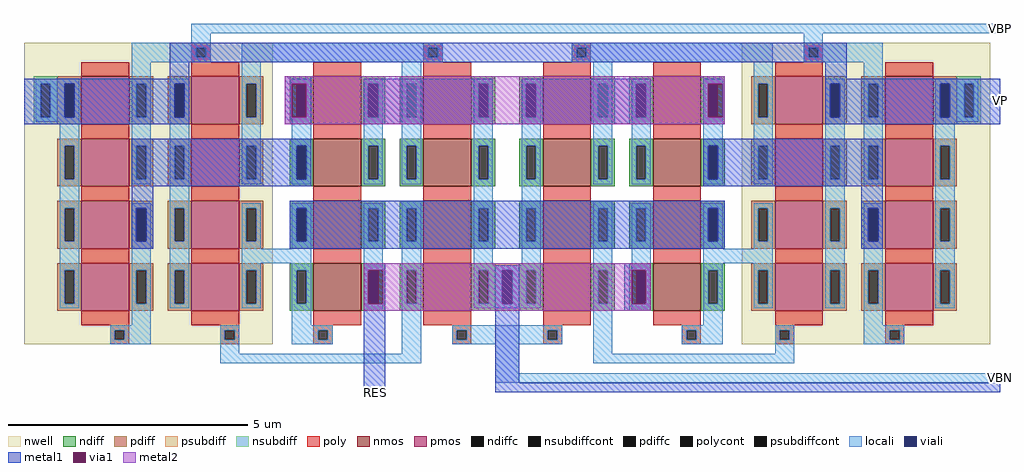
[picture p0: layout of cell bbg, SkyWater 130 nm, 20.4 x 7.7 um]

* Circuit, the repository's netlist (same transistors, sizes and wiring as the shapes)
.subckt bbg VP VBP VBN VN RES
X0 VN a_460_n780# a_n200_n840# VN sky130_fd_pr__nfet_01v8 ad=0.5 pd=3 as=0.5 ps=3 w=1 l=1
X1 a_460_n780# VBP VP VP sky130_fd_pr__pfet_01v8 ad=0.5 pd=3 as=0.5 ps=3 w=1 l=1
X2 a_460_n780# a_460_n780# RES VN sky130_fd_pr__nfet_01v8 ad=0.5 pd=3 as=0.5 ps=3 w=1 l=1
X3 VP VBP a_460_n780# VP sky130_fd_pr__pfet_01v8 ad=0.5 pd=3 as=0.5 ps=3 w=1 l=1
X4 a_n200_n840# a_460_n780# VN VN sky130_fd_pr__nfet_01v8 ad=0.5 pd=3 as=0.5 ps=3 w=1 l=1
X5 VP a_n200_n840# a_n200_n840# VP sky130_fd_pr__pfet_01v8 ad=0.5 pd=3 as=0.5 ps=3 w=1 l=1
X6 VN VBN VBP VN sky130_fd_pr__nfet_01v8 ad=0.5 pd=3 as=0.5 ps=3 w=1 l=1
X7 VBP a_n200_n840# VP VP sky130_fd_pr__pfet_01v8 ad=0.5 pd=3 as=0.5 ps=3 w=1 l=1
X8 VBN VBP VP VP sky130_fd_pr__pfet_01v8 ad=0.5 pd=3 as=0.5 ps=3 w=1 l=1
X9 a_n200_n840# a_460_n780# VN VN sky130_fd_pr__nfet_01v8 ad=0.5 pd=3 as=0.5 ps=3 w=1 l=1
X10 RES a_460_n780# a_460_n780# VN sky130_fd_pr__nfet_01v8 ad=0.5 pd=3 as=0.5 ps=3 w=1 l=1
X11 VP VBP VBN VP sky130_fd_pr__pfet_01v8 ad=0.5 pd=3 as=0.5 ps=3 w=1 l=1
X12 VP VBP VBN VP sky130_fd_pr__pfet_01v8 ad=0.5 pd=3 as=0.5 ps=3 w=1 l=1
X13 VBP a_n200_n840# VP VP sky130_fd_pr__pfet_01v8 ad=0.5 pd=3 as=0.5 ps=3 w=1 l=1
X14 a_n200_n840# a_n200_n840# VP VP sky130_fd_pr__pfet_01v8 ad=0.5 pd=3 as=0.5 ps=3 w=1 l=1
X15 VBP VBN VN VN sky130_fd_pr__nfet_01v8 ad=0.5 pd=3 as=0.5 ps=3 w=1 l=1
X16 a_460_n780# VBP VP VP sky130_fd_pr__pfet_01v8 ad=0.5 pd=3 as=0.5 ps=3 w=1 l=1
X17 a_460_n780# a_460_n780# RES VN sky130_fd_pr__nfet_01v8 ad=0.5 pd=3 as=0.5 ps=3 w=1 l=1
X18 VP VBP a_460_n780# VP sky130_fd_pr__pfet_01v8 ad=0.5 pd=3 as=0.5 ps=3 w=1 l=1
X19 VBN VBN VN VN sky130_fd_pr__nfet_01v8 ad=0.5 pd=3 as=0.5 ps=3 w=1 l=1
X20 VBN VBN VN VN sky130_fd_pr__nfet_01v8 ad=0.5 pd=3 as=0.5 ps=3 w=1 l=1
X21 VP a_n200_n840# a_n200_n840# VP sky130_fd_pr__pfet_01v8 ad=0.5 pd=3 as=0.5 ps=3 w=1 l=1
X22 VN VBN VBP VN sky130_fd_pr__nfet_01v8 ad=0.5 pd=3 as=0.5 ps=3 w=1 l=1
X23 RES a_460_n780# a_460_n780# VN sky130_fd_pr__nfet_01v8 ad=0.5 pd=3 as=0.5 ps=3 w=1 l=1
X24 VN VBN VBN VN sky130_fd_pr__nfet_01v8 ad=0.5 pd=3 as=0.5 ps=3 w=1 l=1
X25 VP a_n200_n840# VBP VP sky130_fd_pr__pfet_01v8 ad=0.5 pd=3 as=0.5 ps=3 w=1 l=1
X26 VP a_n200_n840# VBP VP sky130_fd_pr__pfet_01v8 ad=0.5 pd=3 as=0.5 ps=3 w=1 l=1
X27 VN VBN VBN VN sky130_fd_pr__nfet_01v8 ad=0.5 pd=3 as=0.5 ps=3 w=1 l=1
X28 VN a_460_n780# a_n200_n840# VN sky130_fd_pr__nfet_01v8 ad=0.5 pd=3 as=0.5 ps=3 w=1 l=1
X29 VBP VBN VN VN sky130_fd_pr__nfet_01v8 ad=0.5 pd=3 as=0.5 ps=3 w=1 l=1
X30 VBN VBP VP VP sky130_fd_pr__pfet_01v8 ad=0.5 pd=3 as=0.5 ps=3 w=1 l=1
X31 a_n200_n840# a_n200_n840# VP VP sky130_fd_pr__pfet_01v8 ad=0.5 pd=3 as=0.5 ps=3 w=1 l=1
.ends
.end

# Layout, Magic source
magic
tech sky130A
<< nwell >>
rect -220 -460 300 170
rect 1280 -460 1800 170
<< nmos >>
rect 385 0 485 100
rect 615 0 715 100
rect 865 0 965 100
rect 1095 0 1195 100
rect 385 -130 485 -30
rect 615 -130 715 -30
rect 865 -130 965 -30
rect 1095 -130 1195 -30
rect 385 -260 485 -160
rect 615 -260 715 -160
rect 865 -260 965 -160
rect 1095 -260 1195 -160
rect 385 -390 485 -290
rect 615 -390 715 -290
rect 865 -390 965 -290
rect 1095 -390 1195 -290
<< pmos >>
rect -100 0 0 100
rect 130 0 230 100
rect 1350 0 1450 100
rect 1580 0 1680 100
rect -100 -130 0 -30
rect 130 -130 230 -30
rect 1350 -130 1450 -30
rect 1580 -130 1680 -30
rect -100 -260 0 -160
rect 130 -260 230 -160
rect 1350 -260 1450 -160
rect 1580 -260 1680 -160
rect -100 -390 0 -290
rect 130 -390 230 -290
rect 1350 -390 1450 -290
rect 1580 -390 1680 -290
<< ndiff >>
rect 335 85 385 100
rect 335 15 350 85
rect 370 15 385 85
rect 335 0 385 15
rect 485 85 535 100
rect 485 15 500 85
rect 520 15 535 85
rect 485 0 535 15
rect 565 85 615 100
rect 565 15 580 85
rect 600 15 615 85
rect 565 0 615 15
rect 715 85 765 100
rect 715 15 730 85
rect 750 15 765 85
rect 715 0 765 15
rect 815 85 865 100
rect 815 15 830 85
rect 850 15 865 85
rect 815 0 865 15
rect 965 85 1015 100
rect 965 15 980 85
rect 1000 15 1015 85
rect 965 0 1015 15
rect 1045 85 1095 100
rect 1045 15 1060 85
rect 1080 15 1095 85
rect 1045 0 1095 15
rect 1195 85 1245 100
rect 1195 15 1210 85
rect 1230 15 1245 85
rect 1195 0 1245 15
rect 335 -45 385 -30
rect 335 -115 350 -45
rect 370 -115 385 -45
rect 335 -130 385 -115
rect 485 -45 535 -30
rect 485 -115 500 -45
rect 520 -115 535 -45
rect 485 -130 535 -115
rect 565 -45 615 -30
rect 565 -115 580 -45
rect 600 -115 615 -45
rect 565 -130 615 -115
rect 715 -45 765 -30
rect 715 -115 730 -45
rect 750 -115 765 -45
rect 715 -130 765 -115
rect 815 -45 865 -30
rect 815 -115 830 -45
rect 850 -115 865 -45
rect 815 -130 865 -115
rect 965 -45 1015 -30
rect 965 -115 980 -45
rect 1000 -115 1015 -45
rect 965 -130 1015 -115
rect 1045 -45 1095 -30
rect 1045 -115 1060 -45
rect 1080 -115 1095 -45
rect 1045 -130 1095 -115
rect 1195 -45 1245 -30
rect 1195 -115 1210 -45
rect 1230 -115 1245 -45
rect 1195 -130 1245 -115
rect 335 -175 385 -160
rect 335 -245 350 -175
rect 370 -245 385 -175
rect 335 -260 385 -245
rect 485 -175 535 -160
rect 485 -245 500 -175
rect 520 -245 535 -175
rect 485 -260 535 -245
rect 565 -175 615 -160
rect 565 -245 580 -175
rect 600 -245 615 -175
rect 565 -260 615 -245
rect 715 -175 765 -160
rect 715 -245 730 -175
rect 750 -245 765 -175
rect 715 -260 765 -245
rect 815 -175 865 -160
rect 815 -245 830 -175
rect 850 -245 865 -175
rect 815 -260 865 -245
rect 965 -175 1015 -160
rect 965 -245 980 -175
rect 1000 -245 1015 -175
rect 965 -260 1015 -245
rect 1045 -175 1095 -160
rect 1045 -245 1060 -175
rect 1080 -245 1095 -175
rect 1045 -260 1095 -245
rect 1195 -175 1245 -160
rect 1195 -245 1210 -175
rect 1230 -245 1245 -175
rect 1195 -260 1245 -245
rect 335 -305 385 -290
rect 335 -375 350 -305
rect 370 -375 385 -305
rect 335 -390 385 -375
rect 485 -305 535 -290
rect 485 -375 500 -305
rect 520 -375 535 -305
rect 485 -390 535 -375
rect 565 -305 615 -290
rect 565 -375 580 -305
rect 600 -375 615 -305
rect 565 -390 615 -375
rect 715 -305 765 -290
rect 815 -305 865 -290
rect 715 -375 730 -305
rect 750 -375 765 -305
rect 815 -375 830 -305
rect 850 -375 865 -305
rect 715 -390 765 -375
rect 815 -390 865 -375
rect 965 -305 1015 -290
rect 965 -375 980 -305
rect 1000 -375 1015 -305
rect 965 -390 1015 -375
rect 1045 -305 1095 -290
rect 1045 -375 1060 -305
rect 1080 -375 1095 -305
rect 1045 -390 1095 -375
rect 1195 -305 1245 -290
rect 1195 -375 1210 -305
rect 1230 -375 1245 -305
rect 1195 -390 1245 -375
<< pdiff >>
rect -150 85 -100 100
rect -150 15 -135 85
rect -115 15 -100 85
rect -150 0 -100 15
rect 0 85 50 100
rect 0 15 15 85
rect 35 15 50 85
rect 0 0 50 15
rect 80 85 130 100
rect 80 15 95 85
rect 115 15 130 85
rect 80 0 130 15
rect 230 85 280 100
rect 230 15 245 85
rect 265 15 280 85
rect 230 0 280 15
rect 1300 85 1350 100
rect 1300 15 1315 85
rect 1335 15 1350 85
rect 1300 0 1350 15
rect 1450 85 1500 100
rect 1450 15 1465 85
rect 1485 15 1500 85
rect 1450 0 1500 15
rect 1530 85 1580 100
rect 1530 15 1545 85
rect 1565 15 1580 85
rect 1530 0 1580 15
rect 1680 85 1730 100
rect 1680 15 1695 85
rect 1715 15 1730 85
rect 1680 0 1730 15
rect -150 -45 -100 -30
rect -150 -115 -135 -45
rect -115 -115 -100 -45
rect -150 -130 -100 -115
rect 0 -45 50 -30
rect 0 -115 15 -45
rect 35 -115 50 -45
rect 0 -130 50 -115
rect 80 -45 130 -30
rect 80 -115 95 -45
rect 115 -115 130 -45
rect 80 -130 130 -115
rect 230 -45 280 -30
rect 230 -115 245 -45
rect 265 -115 280 -45
rect 230 -130 280 -115
rect 1300 -45 1350 -30
rect 1300 -115 1315 -45
rect 1335 -115 1350 -45
rect 1300 -130 1350 -115
rect 1450 -45 1500 -30
rect 1450 -115 1465 -45
rect 1485 -115 1500 -45
rect 1450 -130 1500 -115
rect 1530 -45 1580 -30
rect 1530 -115 1545 -45
rect 1565 -115 1580 -45
rect 1530 -130 1580 -115
rect 1680 -45 1730 -30
rect 1680 -115 1695 -45
rect 1715 -115 1730 -45
rect 1680 -130 1730 -115
rect -150 -175 -100 -160
rect -150 -245 -135 -175
rect -115 -245 -100 -175
rect -150 -260 -100 -245
rect 0 -175 50 -160
rect 0 -245 15 -175
rect 35 -245 50 -175
rect 0 -260 50 -245
rect 80 -175 130 -160
rect 80 -245 95 -175
rect 115 -245 130 -175
rect 80 -260 130 -245
rect 230 -175 280 -160
rect 230 -245 245 -175
rect 265 -245 280 -175
rect 230 -260 280 -245
rect 1300 -175 1350 -160
rect 1300 -245 1315 -175
rect 1335 -245 1350 -175
rect 1300 -260 1350 -245
rect 1450 -175 1500 -160
rect 1450 -245 1465 -175
rect 1485 -245 1500 -175
rect 1450 -260 1500 -245
rect 1530 -175 1580 -160
rect 1530 -245 1545 -175
rect 1565 -245 1580 -175
rect 1530 -260 1580 -245
rect 1680 -175 1730 -160
rect 1680 -245 1695 -175
rect 1715 -245 1730 -175
rect 1680 -260 1730 -245
rect -150 -305 -100 -290
rect -150 -375 -135 -305
rect -115 -375 -100 -305
rect -150 -390 -100 -375
rect 0 -305 50 -290
rect 0 -375 15 -305
rect 35 -375 50 -305
rect 0 -390 50 -375
rect 80 -305 130 -290
rect 80 -375 95 -305
rect 115 -375 130 -305
rect 80 -390 130 -375
rect 230 -305 280 -290
rect 230 -375 245 -305
rect 265 -375 280 -305
rect 230 -390 280 -375
rect 1300 -305 1350 -290
rect 1300 -375 1315 -305
rect 1335 -375 1350 -305
rect 1300 -390 1350 -375
rect 1450 -305 1500 -290
rect 1450 -375 1465 -305
rect 1485 -375 1500 -305
rect 1450 -390 1500 -375
rect 1530 -305 1580 -290
rect 1530 -375 1545 -305
rect 1565 -375 1580 -305
rect 1530 -390 1580 -375
rect 1680 -305 1730 -290
rect 1680 -375 1695 -305
rect 1715 -375 1730 -305
rect 1680 -390 1730 -375
<< ndiffc >>
rect 350 15 370 85
rect 500 15 520 85
rect 580 15 600 85
rect 730 15 750 85
rect 830 15 850 85
rect 980 15 1000 85
rect 1060 15 1080 85
rect 1210 15 1230 85
rect 350 -115 370 -45
rect 500 -115 520 -45
rect 580 -115 600 -45
rect 730 -115 750 -45
rect 830 -115 850 -45
rect 980 -115 1000 -45
rect 1060 -115 1080 -45
rect 1210 -115 1230 -45
rect 350 -245 370 -175
rect 500 -245 520 -175
rect 580 -245 600 -175
rect 730 -245 750 -175
rect 830 -245 850 -175
rect 980 -245 1000 -175
rect 1060 -245 1080 -175
rect 1210 -245 1230 -175
rect 350 -375 370 -305
rect 500 -375 520 -305
rect 580 -375 600 -305
rect 730 -375 750 -305
rect 830 -375 850 -305
rect 980 -375 1000 -305
rect 1060 -375 1080 -305
rect 1210 -375 1230 -305
<< pdiffc >>
rect -135 15 -115 85
rect 15 15 35 85
rect 95 15 115 85
rect 245 15 265 85
rect 1315 15 1335 85
rect 1465 15 1485 85
rect 1545 15 1565 85
rect 1695 15 1715 85
rect -135 -115 -115 -45
rect 15 -115 35 -45
rect 95 -115 115 -45
rect 245 -115 265 -45
rect 1315 -115 1335 -45
rect 1465 -115 1485 -45
rect 1545 -115 1565 -45
rect 1695 -115 1715 -45
rect -135 -245 -115 -175
rect 15 -245 35 -175
rect 95 -245 115 -175
rect 245 -245 265 -175
rect 1315 -245 1335 -175
rect 1465 -245 1485 -175
rect 1545 -245 1565 -175
rect 1695 -245 1715 -175
rect -135 -375 -115 -305
rect 15 -375 35 -305
rect 95 -375 115 -305
rect 245 -375 265 -305
rect 1315 -375 1335 -305
rect 1465 -375 1485 -305
rect 1545 -375 1565 -305
rect 1695 -375 1715 -305
<< psubdiff >>
rect 765 -305 815 -290
rect 765 -375 780 -305
rect 800 -375 815 -305
rect 765 -390 815 -375
<< nsubdiff >>
rect -200 85 -150 100
rect -200 15 -185 85
rect -165 15 -150 85
rect -200 0 -150 15
rect 1730 85 1780 100
rect 1730 15 1745 85
rect 1765 15 1780 85
rect 1730 0 1780 15
<< psubdiffcont >>
rect 780 -375 800 -305
<< nsubdiffcont >>
rect -185 15 -165 85
rect 1745 15 1765 85
<< poly >>
rect 130 160 170 170
rect 130 140 140 160
rect 160 140 170 160
rect 130 130 170 140
rect 615 160 655 170
rect 615 140 625 160
rect 645 140 655 160
rect 615 130 655 140
rect 925 160 965 170
rect 925 140 935 160
rect 955 140 965 160
rect 925 130 965 140
rect 1410 160 1450 170
rect 1410 140 1420 160
rect 1440 140 1450 160
rect 1410 130 1450 140
rect -100 100 0 130
rect 130 100 230 130
rect 385 100 485 130
rect 615 100 715 130
rect 865 100 965 130
rect 1095 100 1195 130
rect 1350 100 1450 130
rect 1580 100 1680 130
rect -100 -30 0 0
rect 130 -30 230 0
rect 385 -30 485 0
rect 615 -30 715 0
rect 865 -30 965 0
rect 1095 -30 1195 0
rect 1350 -30 1450 0
rect 1580 -30 1680 0
rect -100 -160 0 -130
rect 130 -160 230 -130
rect 385 -160 485 -130
rect 615 -160 715 -130
rect 865 -160 965 -130
rect 1095 -160 1195 -130
rect 1350 -160 1450 -130
rect 1580 -160 1680 -130
rect -100 -290 0 -260
rect 130 -290 230 -260
rect 385 -290 485 -260
rect 615 -290 715 -260
rect 865 -290 965 -260
rect 1095 -290 1195 -260
rect 1350 -290 1450 -260
rect 1580 -290 1680 -260
rect -100 -420 0 -390
rect 130 -420 230 -390
rect -40 -430 0 -420
rect -40 -450 -30 -430
rect -10 -450 0 -430
rect -40 -460 0 -450
rect 190 -430 230 -420
rect 190 -450 200 -430
rect 220 -450 230 -430
rect 190 -460 230 -450
rect 385 -420 485 -390
rect 615 -420 715 -390
rect 385 -430 425 -420
rect 385 -450 395 -430
rect 415 -450 425 -430
rect 385 -460 425 -450
rect 675 -430 715 -420
rect 675 -450 685 -430
rect 705 -450 715 -430
rect 675 -460 715 -450
rect 865 -420 965 -390
rect 1095 -420 1195 -390
rect 865 -430 905 -420
rect 865 -450 875 -430
rect 895 -450 905 -430
rect 865 -460 905 -450
rect 1155 -430 1195 -420
rect 1155 -450 1165 -430
rect 1185 -450 1195 -430
rect 1155 -460 1195 -450
rect 1350 -420 1450 -390
rect 1580 -420 1680 -390
rect 1350 -430 1390 -420
rect 1350 -450 1360 -430
rect 1380 -450 1390 -430
rect 1350 -460 1390 -450
rect 1580 -430 1620 -420
rect 1580 -450 1590 -430
rect 1610 -450 1620 -430
rect 1580 -460 1620 -450
<< polycont >>
rect 140 140 160 160
rect 625 140 645 160
rect 935 140 955 160
rect 1420 140 1440 160
rect -30 -450 -10 -430
rect 200 -450 220 -430
rect 395 -450 415 -430
rect 685 -450 705 -430
rect 875 -450 895 -430
rect 1165 -450 1185 -430
rect 1360 -450 1380 -430
rect 1590 -450 1610 -430
<< locali >>
rect 130 190 1820 210
rect 130 170 170 190
rect 1410 170 1450 190
rect 5 160 170 170
rect 5 140 140 160
rect 160 140 170 160
rect 5 130 170 140
rect 235 160 655 170
rect 235 140 625 160
rect 645 140 655 160
rect 235 130 655 140
rect 925 160 1345 170
rect 925 140 935 160
rect 955 140 1345 160
rect 925 130 1345 140
rect 1410 160 1575 170
rect 1410 140 1420 160
rect 1440 140 1575 160
rect 1410 130 1575 140
rect -195 85 -105 95
rect -195 15 -185 85
rect -165 15 -135 85
rect -115 15 -105 85
rect -195 5 -105 15
rect -145 -45 -105 5
rect -145 -115 -135 -45
rect -115 -115 -105 -45
rect -145 -175 -105 -115
rect 5 85 45 130
rect 5 15 15 85
rect 35 15 45 85
rect 5 -45 45 15
rect 5 -115 15 -45
rect 35 -115 45 -45
rect 5 -125 45 -115
rect 85 85 125 95
rect 85 15 95 85
rect 115 15 125 85
rect 85 -45 125 15
rect 85 -115 95 -45
rect 115 -115 125 -45
rect -145 -245 -135 -175
rect -115 -245 -105 -175
rect -145 -305 -105 -245
rect -145 -375 -135 -305
rect -115 -375 -105 -305
rect -145 -385 -105 -375
rect 5 -175 45 -165
rect 5 -245 15 -175
rect 35 -245 45 -175
rect 5 -305 45 -245
rect 5 -375 15 -305
rect 35 -375 45 -305
rect 5 -420 45 -375
rect 85 -175 125 -115
rect 235 85 275 130
rect 235 15 245 85
rect 265 15 275 85
rect 235 -45 275 15
rect 235 -115 245 -45
rect 265 -115 275 -45
rect 235 -125 275 -115
rect 340 85 380 95
rect 340 15 350 85
rect 370 15 380 85
rect 340 -45 380 15
rect 340 -115 350 -45
rect 370 -115 380 -45
rect 340 -125 380 -115
rect 490 85 530 95
rect 490 15 500 85
rect 520 15 530 85
rect 490 -45 530 15
rect 490 -115 500 -45
rect 520 -115 530 -45
rect 490 -125 530 -115
rect 570 85 610 130
rect 570 15 580 85
rect 600 15 610 85
rect 570 -45 610 15
rect 570 -115 580 -45
rect 600 -115 610 -45
rect 570 -125 610 -115
rect 720 85 760 95
rect 720 15 730 85
rect 750 15 760 85
rect 720 -45 760 15
rect 720 -115 730 -45
rect 750 -115 760 -45
rect 85 -245 95 -175
rect 115 -245 125 -175
rect 85 -305 125 -245
rect 85 -375 95 -305
rect 115 -375 125 -305
rect 85 -385 125 -375
rect 235 -175 275 -165
rect 235 -245 245 -175
rect 265 -245 275 -175
rect 235 -260 275 -245
rect 340 -175 380 -165
rect 340 -245 350 -175
rect 370 -245 380 -175
rect 340 -260 380 -245
rect 235 -290 380 -260
rect 235 -305 275 -290
rect 235 -375 245 -305
rect 265 -375 275 -305
rect 235 -385 275 -375
rect 340 -305 380 -290
rect 340 -375 350 -305
rect 370 -375 380 -305
rect 340 -420 380 -375
rect 490 -175 530 -165
rect 490 -245 500 -175
rect 520 -245 530 -175
rect 490 -305 530 -245
rect 490 -375 500 -305
rect 520 -375 530 -305
rect 490 -390 530 -375
rect 570 -175 610 -160
rect 570 -245 580 -175
rect 600 -245 610 -175
rect 570 -305 610 -245
rect 570 -375 580 -305
rect 600 -375 610 -305
rect -40 -430 45 -420
rect -40 -450 -30 -430
rect -10 -450 45 -430
rect -40 -460 45 -450
rect 190 -430 230 -420
rect 190 -450 200 -430
rect 220 -450 230 -430
rect 190 -480 230 -450
rect 340 -430 425 -420
rect 340 -450 395 -430
rect 415 -450 425 -430
rect 340 -460 425 -450
rect 570 -480 610 -375
rect 720 -175 760 -115
rect 720 -245 730 -175
rect 750 -245 760 -175
rect 720 -295 760 -245
rect 820 85 860 95
rect 820 15 830 85
rect 850 15 860 85
rect 820 -45 860 15
rect 820 -115 830 -45
rect 850 -115 860 -45
rect 820 -175 860 -115
rect 970 85 1010 130
rect 970 15 980 85
rect 1000 15 1010 85
rect 970 -45 1010 15
rect 970 -115 980 -45
rect 1000 -115 1010 -45
rect 970 -125 1010 -115
rect 1050 85 1090 95
rect 1050 15 1060 85
rect 1080 15 1090 85
rect 1050 -45 1090 15
rect 1050 -115 1060 -45
rect 1080 -115 1090 -45
rect 1050 -125 1090 -115
rect 1200 85 1240 95
rect 1200 15 1210 85
rect 1230 15 1240 85
rect 1200 -45 1240 15
rect 1200 -115 1210 -45
rect 1230 -115 1240 -45
rect 1200 -125 1240 -115
rect 1305 85 1345 130
rect 1305 15 1315 85
rect 1335 15 1345 85
rect 1305 -45 1345 15
rect 1305 -115 1315 -45
rect 1335 -115 1345 -45
rect 1305 -125 1345 -115
rect 1455 85 1495 95
rect 1455 15 1465 85
rect 1485 15 1495 85
rect 1455 -45 1495 15
rect 1455 -115 1465 -45
rect 1485 -115 1495 -45
rect 820 -245 830 -175
rect 850 -245 860 -175
rect 820 -295 860 -245
rect 720 -305 860 -295
rect 720 -375 730 -305
rect 750 -375 780 -305
rect 800 -375 830 -305
rect 850 -375 860 -305
rect 720 -385 860 -375
rect 970 -175 1010 -160
rect 970 -245 980 -175
rect 1000 -245 1010 -175
rect 970 -305 1010 -245
rect 970 -375 980 -305
rect 1000 -375 1010 -305
rect 675 -430 905 -420
rect 675 -450 685 -430
rect 705 -450 875 -430
rect 895 -450 905 -430
rect 675 -460 905 -450
rect 190 -500 610 -480
rect 765 -520 815 -460
rect 970 -480 1010 -375
rect 1050 -175 1090 -165
rect 1050 -245 1060 -175
rect 1080 -245 1090 -175
rect 1050 -305 1090 -245
rect 1050 -375 1060 -305
rect 1080 -375 1090 -305
rect 1050 -390 1090 -375
rect 1200 -175 1240 -165
rect 1200 -245 1210 -175
rect 1230 -245 1240 -175
rect 1200 -260 1240 -245
rect 1305 -175 1345 -165
rect 1305 -245 1315 -175
rect 1335 -245 1345 -175
rect 1305 -260 1345 -245
rect 1200 -290 1345 -260
rect 1200 -305 1240 -290
rect 1200 -375 1210 -305
rect 1230 -375 1240 -305
rect 1200 -420 1240 -375
rect 1305 -305 1345 -290
rect 1305 -375 1315 -305
rect 1335 -375 1345 -305
rect 1305 -385 1345 -375
rect 1455 -175 1495 -115
rect 1535 85 1575 130
rect 1535 15 1545 85
rect 1565 15 1575 85
rect 1535 -45 1575 15
rect 1535 -115 1545 -45
rect 1565 -115 1575 -45
rect 1535 -125 1575 -115
rect 1685 85 1775 95
rect 1685 15 1695 85
rect 1715 15 1745 85
rect 1765 15 1775 85
rect 1685 5 1775 15
rect 1685 -45 1725 5
rect 1685 -115 1695 -45
rect 1715 -115 1725 -45
rect 1455 -245 1465 -175
rect 1485 -245 1495 -175
rect 1455 -305 1495 -245
rect 1455 -375 1465 -305
rect 1485 -375 1495 -305
rect 1455 -385 1495 -375
rect 1535 -175 1575 -165
rect 1535 -245 1545 -175
rect 1565 -245 1575 -175
rect 1535 -305 1575 -245
rect 1535 -375 1545 -305
rect 1565 -375 1575 -305
rect 1535 -420 1575 -375
rect 1685 -175 1725 -115
rect 1685 -245 1695 -175
rect 1715 -245 1725 -175
rect 1685 -305 1725 -245
rect 1685 -375 1695 -305
rect 1715 -375 1725 -305
rect 1685 -385 1725 -375
rect 1155 -430 1240 -420
rect 1155 -450 1165 -430
rect 1185 -450 1240 -430
rect 1155 -460 1240 -450
rect 1350 -430 1390 -420
rect 1350 -450 1360 -430
rect 1380 -450 1390 -430
rect 1350 -480 1390 -450
rect 1535 -430 1620 -420
rect 1535 -450 1590 -430
rect 1610 -450 1620 -430
rect 1535 -460 1620 -450
rect 970 -500 1390 -480
rect 765 -540 1820 -520
<< viali >>
rect -135 15 -115 85
rect 95 15 115 85
rect 15 -245 35 -175
rect 350 15 370 85
rect 350 -115 370 -45
rect 500 15 520 85
rect 730 15 750 85
rect 350 -245 370 -175
rect 500 -375 520 -305
rect 830 15 850 85
rect 1060 15 1080 85
rect 1210 15 1230 85
rect 1210 -115 1230 -45
rect 1465 15 1485 85
rect 780 -375 800 -305
rect 1060 -375 1080 -305
rect 1210 -245 1230 -175
rect 1695 15 1715 85
rect 1545 -245 1565 -175
<< metal1 >>
rect 85 130 1500 170
rect 85 95 125 130
rect -220 85 125 95
rect -220 15 -135 85
rect -115 15 95 85
rect 115 15 125 85
rect -220 0 125 15
rect 325 85 380 100
rect 325 15 340 85
rect 370 15 380 85
rect 325 0 380 15
rect 490 85 760 95
rect 490 15 500 85
rect 520 15 730 85
rect 750 15 760 85
rect 490 0 760 15
rect 820 85 1090 95
rect 820 15 830 85
rect 850 15 1060 85
rect 1080 15 1090 85
rect 820 0 1090 15
rect 1200 85 1245 100
rect 1200 15 1210 85
rect 1240 15 1245 85
rect 1200 0 1245 15
rect 1455 95 1500 130
rect 1455 85 1820 95
rect 1455 15 1465 85
rect 1485 15 1695 85
rect 1715 15 1820 85
rect 1455 0 1820 15
rect 5 -45 380 -30
rect 5 -115 350 -45
rect 370 -115 380 -45
rect 5 -130 380 -115
rect 1200 -45 1575 -30
rect 1200 -115 1210 -45
rect 1230 -115 1575 -45
rect 1200 -130 1575 -115
rect 5 -175 50 -130
rect 5 -245 15 -175
rect 35 -245 50 -175
rect 5 -260 50 -245
rect 335 -175 1245 -160
rect 335 -245 350 -175
rect 370 -245 1210 -175
rect 1230 -245 1245 -175
rect 335 -260 1245 -245
rect 1530 -175 1575 -130
rect 1530 -245 1545 -175
rect 1565 -245 1575 -175
rect 1530 -260 1575 -245
rect 490 -305 535 -290
rect 490 -375 500 -305
rect 530 -375 535 -305
rect 490 -560 535 -375
rect 765 -305 815 -295
rect 765 -375 780 -305
rect 800 -375 815 -305
rect 765 -540 815 -375
rect 1035 -305 1090 -290
rect 1035 -375 1050 -305
rect 1080 -375 1090 -305
rect 1035 -390 1090 -375
rect 765 -560 1820 -540
<< via1 >>
rect 340 15 350 85
rect 350 15 370 85
rect 1210 15 1230 85
rect 1230 15 1240 85
rect 500 -375 520 -305
rect 520 -375 530 -305
rect 1050 -375 1060 -305
rect 1060 -375 1080 -305
<< metal2 >>
rect 325 85 1245 100
rect 325 15 340 85
rect 370 15 1210 85
rect 1240 15 1245 85
rect 325 0 1245 15
rect 490 -305 1090 -290
rect 490 -375 500 -305
rect 530 -375 1050 -305
rect 1080 -375 1090 -305
rect 490 -390 1090 -375
<< labels >>
rlabel metal1 1820 50 1820 50 3 VP
port 1 e
rlabel locali 1820 200 1820 200 3 VBP
port 2 e
rlabel locali 1820 -530 1820 -530 3 VBN
port 3 e
rlabel metal1 1820 -550 1820 -550 3 VN
port 4 e
rlabel metal1 515 -560 515 -560 5 RES
port 5 s
<< end >>
